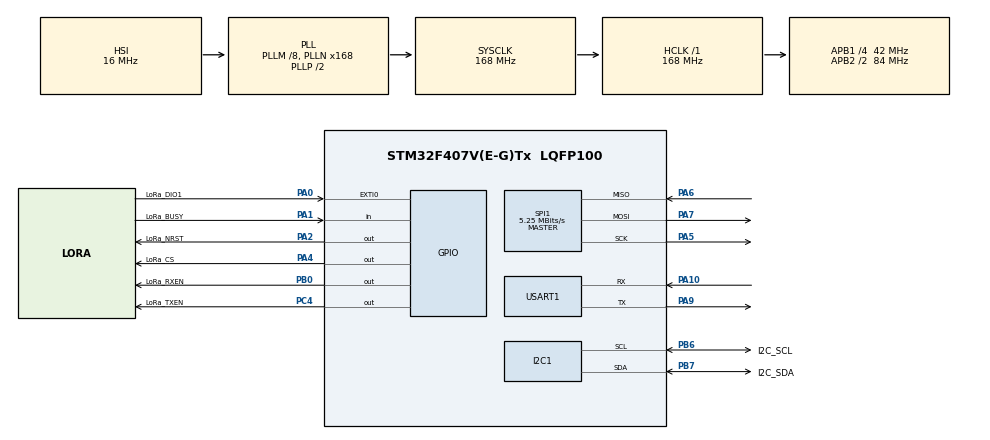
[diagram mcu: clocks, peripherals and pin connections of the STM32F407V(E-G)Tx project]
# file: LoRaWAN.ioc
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FREERTOS.Tasks01=defaultTask,24,512,StartDefaultTask,Default,NULL,Dynamic,NULL,NULL
FREERTOS.configCHECK_FOR_STACK_OVERFLOW=2
FREERTOS.configTOTAL_HEAP_SIZE=32768
FREERTOS.configUSE_MALLOC_FAILED_HOOK=1
I2C1.I2C_Mode=I2C_Standard
Mcu.Family=STM32F4
Mcu.Name=STM32F407V(E-G)Tx
Mcu.Package=LQFP100
NVIC.EXTI0_IRQn=true\:6\:0\:true\:false\:true\:true\:true\:true\:true
NVIC.PriorityGroup=NVIC_PRIORITYGROUP_4
NVIC.TIM6_DAC_IRQn=true\:15\:0\:false\:false\:true\:false\:false\:true\:true
NVIC.TimeBase=TIM6_DAC_IRQn
NVIC.TimeBaseIP=TIM6
PA0-WKUP.GPIO_Label=LoRa_DIO1
PA0-WKUP.GPIO_ModeDefaultEXTI=GPIO_MODE_IT_RISING
PA0-WKUP.GPIO_PuPd=GPIO_NOPULL
PA0-WKUP.Signal=GPXTI0
PA1.GPIO_Label=LoRa_BUSY
PA1.GPIO_PuPd=GPIO_NOPULL
PA1.Signal=GPIO_Input
PA10.Mode=Asynchronous
PA10.Signal=USART1_RX
PA13.Mode=Serial_Wire
PA13.Signal=SYS_JTMS-SWDIO
PA14.Mode=Serial_Wire
PA14.Signal=SYS_JTCK-SWCLK
PA2.GPIO_Label=LoRa_NRST
PA2.GPIO_ModeDefaultOutputPP=GPIO_MODE_OUTPUT_OD
PA2.GPIO_PuPd=GPIO_NOPULL
PA2.PinState=GPIO_PIN_SET
PA2.Signal=GPIO_Output
PA4.GPIO_Label=LoRa_CS
PA4.GPIO_ModeDefaultOutputPP=GPIO_MODE_OUTPUT_PP
PA4.PinState=GPIO_PIN_SET
PA4.Signal=GPIO_Output
PA5.Mode=Full_Duplex_Master
PA5.Signal=SPI1_SCK
PA6.Mode=Full_Duplex_Master
PA6.Signal=SPI1_MISO
PA7.Mode=Full_Duplex_Master
PA7.Signal=SPI1_MOSI
PA9.Mode=Asynchronous
PA9.Signal=USART1_TX
PB0.GPIO_Label=LoRa_RXEN
PB0.Signal=GPIO_Output
PB6.GPIO_Label=I2C_SCL
PB6.Mode=I2C
PB6.Signal=I2C1_SCL
PB7.GPIO_Label=I2C_SDA
PB7.Mode=I2C
PB7.Signal=I2C1_SDA
PC14-OSC32_IN.Mode=LSE-External-Oscillator
PC14-OSC32_IN.Signal=RCC_OSC32_IN
PC15-OSC32_OUT.Mode=LSE-External-Oscillator
PC15-OSC32_OUT.Signal=RCC_OSC32_OUT
PC4.GPIO_Label=LoRa_TXEN
PC4.Signal=GPIO_Output
PH0-OSC_IN.Mode=HSE-External-Oscillator
PH0-OSC_IN.Signal=RCC_OSC_IN
PH1-OSC_OUT.Mode=HSE-External-Oscillator
PH1-OSC_OUT.Signal=RCC_OSC_OUT
ProjectManager.HeapSize=0x200
ProjectManager.StackSize=0x400
ProjectManager.TargetToolchain=MDK-ARM V5.32
RCC.48MHZClocksFreq_Value=84000000
RCC.AHBFreq_Value=168000000
RCC.APB1CLKDivider=RCC_HCLK_DIV4
RCC.APB1Freq_Value=42000000
RCC.APB1TimFreq_Value=84000000
RCC.APB2CLKDivider=RCC_HCLK_DIV2
RCC.APB2Freq_Value=84000000
RCC.APB2TimFreq_Value=168000000
RCC.CortexFreq_Value=168000000
RCC.HCLKFreq_Value=168000000
RCC.HSE_VALUE=25000000
RCC.HSI_VALUE=16000000
RCC.PLLM=8
RCC.PLLN=168
RCC.SYSCLKFreq_VALUE=168000000
RCC.SYSCLKSource=RCC_SYSCLKSOURCE_PLLCLK
RCC.VCOOutputFreq_Value=336000000
SPI1.BaudRatePrescaler=SPI_BAUDRATEPRESCALER_16
SPI1.CalculateBaudRate=5.25 MBits/s
SPI1.Direction=SPI_DIRECTION_2LINES
SPI1.Mode=SPI_MODE_MASTER
SPI1.VirtualType=VM_MASTER
USART1.VirtualMode=VM_ASYNC
VP_FREERTOS_VS_CMSIS_V2.Mode=CMSIS_V2
VP_SYS_VS_tim6.Mode=TIM6
board=custom

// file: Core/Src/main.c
/* USER CODE BEGIN Header */
/**
  ******************************************************************************
  * @file           : main.c
  * @brief          : Main program body
  ******************************************************************************
  * @attention
  *
  * Copyright (c) 2026 STMicroelectronics.
  * All rights reserved.
  *
  * This software is licensed under terms that can be found in the LICENSE file
  * in the root directory of this software component.
  * If this file has not been licensed with this software, it is provided AS-IS.
  *
  ******************************************************************************
  */
/* USER CODE END Header */
#include "main.h"
#include "cmsis_os.h"
#include "i2c.h"
#include "spi.h"
#include "usart.h"
#include "gpio.h"

/* USER CODE BEGIN Includes */
#include "bsp.h"
#include "app_clk.h"
/* USER CODE END Includes */

void SystemClock_Config(void);
void MX_FREERTOS_Init(void);

/* USER CODE BEGIN 0 */
#if APP_HCLK_MHZ == 84
static HAL_StatusTypeDef clk_slow(void)
{
  RCC_ClkInitTypeDef clk = {0};
  HAL_StatusTypeDef rc;

  /* 仅调整 HCLK，保留 PLL、主时钟、电压档位、Flash 等待周期和 APB 频率。 */
  clk.ClockType = RCC_CLOCKTYPE_HCLK | RCC_CLOCKTYPE_PCLK1 | RCC_CLOCKTYPE_PCLK2;
  clk.AHBCLKDivider = RCC_SYSCLK_DIV2;
  clk.APB1CLKDivider = RCC_HCLK_DIV2;
  clk.APB2CLKDivider = RCC_HCLK_DIV1;
  rc = HAL_RCC_ClockConfig(&clk, FLASH_LATENCY_5);
  if (rc != HAL_OK) return rc;

  if (HAL_RCC_GetSysClockFreq() != 168000000U || HAL_RCC_GetHCLKFreq() != 84000000U ||
      HAL_RCC_GetPCLK1Freq() != 42000000U || HAL_RCC_GetPCLK2Freq() != 84000000U)
    return HAL_ERROR;
  return HAL_OK;
}
#endif

/* USER CODE END 0 */

int main(void)
{

  /* USER CODE BEGIN 1 */
  /* 上电时先设置向量表，再启用 HAL 的 TIM6 时基中断。 */
  SCB->VTOR = FLASH_BASE;
  __DSB();
  __ISB();
  /* USER CODE END 1 */

  /* MCU Configuration--------------------------------------------------------*/

  /* Reset of all peripherals, Initializes the Flash interface and the Systick. */
  HAL_Init();

  /* Configure the system clock */
  SystemClock_Config();

  /* USER CODE BEGIN SysInit */
#if APP_HCLK_MHZ == 84
  if (clk_slow() != HAL_OK) Error_Handler();
#endif
  /* USER CODE END SysInit */

  /* Initialize all configured peripherals */
  MX_GPIO_Init();
  MX_I2C1_Init();
  MX_USART1_UART_Init();
  MX_SPI1_Init();

  /* Init scheduler */
  if (osKernelInitialize() != osOK)  /* Call init function for freertos objects (in cmsis_os2.c) */
  {
    BootTrace_Fatal("osKernelInitialize failed");
    Error_Handler();
  }
  MX_FREERTOS_Init();

  /* Start scheduler */
  if (osKernelStart() != osOK)
  {
    BootTrace_Fatal("osKernelStart failed");
    Error_Handler();
  }

  BootTrace_Fatal("osKernelStart returned unexpectedly");

  /* We should never get here as control is now taken by the scheduler */

  /* Infinite loop */
  while (1)
  {

  }
}

void SystemClock_Config(void)
{
  RCC_OscInitTypeDef RCC_OscInitStruct = {0};
  RCC_ClkInitTypeDef RCC_ClkInitStruct = {0};

  /** Configure the main internal regulator output voltage
  */
  __HAL_RCC_PWR_CLK_ENABLE();
  __HAL_PWR_VOLTAGESCALING_CONFIG(PWR_REGULATOR_VOLTAGE_SCALE1);

  /** Initializes the RCC Oscillators according to the specified parameters
  * in the RCC_OscInitTypeDef structure.
  */
  RCC_OscInitStruct.OscillatorType = RCC_OSCILLATORTYPE_HSI;
  RCC_OscInitStruct.HSIState = RCC_HSI_ON;
  RCC_OscInitStruct.HSICalibrationValue = RCC_HSICALIBRATION_DEFAULT;
  RCC_OscInitStruct.PLL.PLLState = RCC_PLL_ON;
  RCC_OscInitStruct.PLL.PLLSource = RCC_PLLSOURCE_HSI;
  RCC_OscInitStruct.PLL.PLLM = 8;
  RCC_OscInitStruct.PLL.PLLN = 168;
  RCC_OscInitStruct.PLL.PLLP = RCC_PLLP_DIV2;
  RCC_OscInitStruct.PLL.PLLQ = 4;
  if (HAL_RCC_OscConfig(&RCC_OscInitStruct) != HAL_OK)
  {
    Error_Handler();
  }

  /** Initializes the CPU, AHB and APB buses clocks
  */
  RCC_ClkInitStruct.ClockType = RCC_CLOCKTYPE_HCLK|RCC_CLOCKTYPE_SYSCLK
                              |RCC_CLOCKTYPE_PCLK1|RCC_CLOCKTYPE_PCLK2;
  RCC_ClkInitStruct.SYSCLKSource = RCC_SYSCLKSOURCE_PLLCLK;
  RCC_ClkInitStruct.AHBCLKDivider = RCC_SYSCLK_DIV1;
  RCC_ClkInitStruct.APB1CLKDivider = RCC_HCLK_DIV4;
  RCC_ClkInitStruct.APB2CLKDivider = RCC_HCLK_DIV2;

  if (HAL_RCC_ClockConfig(&RCC_ClkInitStruct, FLASH_LATENCY_5) != HAL_OK)
  {
    Error_Handler();
  }
}

void HAL_TIM_PeriodElapsedCallback(TIM_HandleTypeDef *htim)
{
  if (htim->Instance == TIM6)
  {
    HAL_IncTick();
  }
}

void Error_Handler(void)
{
  /* USER CODE BEGIN Error_Handler_Debug */
  /* User can add his own implementation to report the HAL error return state */
  BootTrace_Fatal("HAL Error_Handler");
  __disable_irq();
  while (1)
  {
  }
  /* USER CODE END Error_Handler_Debug */
}

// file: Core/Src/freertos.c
/* USER CODE BEGIN Header */
/**
  ******************************************************************************
  * File Name          : freertos.c
  * Description        : Code for freertos applications
  ******************************************************************************
  * @attention
  *
  * Copyright (c) 2026 STMicroelectronics.
  * All rights reserved.
  *
  * This software is licensed under terms that can be found in the LICENSE file
  * in the root directory of this software component.
  * If no LICENSE file comes with this software, it is provided AS-IS.
  *
  ******************************************************************************
  */
/* USER CODE END Header */

#include "FreeRTOS.h"
#include "task.h"
#include "main.h"
#include "cmsis_os.h"

/* USER CODE BEGIN Includes */
#include "rtos_app.h"
#include "boot_trace.h"
#if APP_STOP_ENABLE
#include "i2c.h"
#include "spi.h"
#include "usart.h"
#include "lora_app.h"
#endif

/* USER CODE END Includes */

/* Definitions for defaultTask */
osThreadId_t defaultTaskHandle;
const osThreadAttr_t defaultTask_attributes = {
  .name = "defaultTask",
  .stack_size = 512 * 4,
  .priority = (osPriority_t) osPriorityNormal,
};

void StartDefaultTask(void *argument);

void MX_FREERTOS_Init(void); /* (MISRA C 2004 rule 8.1) */

/* Hook prototypes */
void vApplicationStackOverflowHook(xTaskHandle xTask, signed char *pcTaskName);
void vApplicationMallocFailedHook(void);
void vApplicationIdleHook(void);

/* USER CODE BEGIN 4 */
#if APP_STOP_ENABLE
/* 仅在 RTC 未占用或配置匹配时使用 LSE 唤醒定时器；冲突时保留备份域。 */
#define STOP_RTC_HZ          2048U
#define STOP_RTC_WRAP        (60U * STOP_RTC_HZ)
#define STOP_RTC_PREDIV      ((15U << RTC_PRER_PREDIV_A_Pos) | (STOP_RTC_HZ - 1U))
#define STOP_WUT_EXTI        EXTI_IMR_MR22
#define STOP_MAX_MS          250U
#define STOP_GUARD_MS        10U
#define STOP_MIN_TICKS       25U
#define STOP_BOOT_WAIT_MS    5000U
#define STOP_TEST_WAIT_MS    100U
#define STOP_FAULT_MAGIC     0x53544f00UL

enum { STOP_COLD, STOP_LSE_WAIT, STOP_READY, STOP_UNAVAILABLE, STOP_FAULT, STOP_TEST_WAIT };
enum { STOP_NO_FAULT, STOP_DBP_FAULT, STOP_RTC_CONFLICT, STOP_LSE_FAULT,
       STOP_RTC_INIT_FAULT, STOP_SELFTEST_FAULT, STOP_WUT_FAULT, STOP_CLOCK_FAULT, STOP_STAMP_FAULT };
/* 单独输出 LPSTOP，不改变 RUN 字段。 */
volatile app_stop_diag_t app_stop_diag;

void app_stop_get_diag(app_stop_diag_t *diag)
{
    *diag = app_stop_diag;
}

static uint32_t stop_lse_start, stop_us_remainder, stop_total_us_remainder;
static uint32_t stop_test_start_ms, stop_test_start_rtc;
static volatile uint8_t stop_test_irq;
static uint8_t stop_stamp(uint32_t *stamp);
static uint8_t stop_arm(uint32_t ms);
static uint8_t stop_disarm(void);

static void stop_unavailable(uint32_t why)
{
    app_stop_diag.fault_reason = why;
    app_stop_diag.state = STOP_UNAVAILABLE;
}

static void stop_wfi(void)
{
    __DSB();
    __WFI();
    __ISB();
}

static uint8_t stop_wait(volatile const uint32_t *reg, uint32_t mask,
                         uint32_t value, uint32_t attempts)
{
    do {
        if ((*reg & mask) == value) return 1U;
    } while (--attempts != 0U);
    return 0U;
}

static void stop_rtc_unlock(void)
{
    RTC->WPR = 0xcaU;
    RTC->WPR = 0x53U;
}

static void stop_rtc_clear(void)
{
    /* RTC_ISR 的事件标记写 0 清除，保留其他标记。 */
    RTC->ISR = ~(RTC_ISR_WUTF | RTC_ISR_INIT) | (RTC->ISR & RTC_ISR_INIT);
    EXTI->PR = STOP_WUT_EXTI;
    NVIC_ClearPendingIRQ(RTC_WKUP_IRQn);
}

static void stop_irq_release(void)
{
    EXTI->IMR &= ~STOP_WUT_EXTI;
    NVIC_DisableIRQ(RTC_WKUP_IRQn);
    stop_rtc_clear();
}

void RTC_WKUP_IRQHandler(void)
{
    /* 进入 STOP 后由屏蔽中断的休眠流程处理唤醒标记。 */
    if (app_stop_diag.state == STOP_TEST_WAIT && (RTC->ISR & RTC_ISR_WUTF) &&
        (EXTI->PR & STOP_WUT_EXTI))
        stop_test_irq = 1U;
    stop_rtc_clear();
}

static void stop_prepare(void)
{
    uint32_t bdcr;
    if (app_stop_diag.state == STOP_TEST_WAIT)
    {
        uint32_t stamp, delta;
        uint8_t rtc_ok;
        if (!stop_test_irq && (uint32_t)(HAL_GetTick() - stop_test_start_ms) < STOP_TEST_WAIT_MS)
            return;
        rtc_ok = stop_stamp(&stamp);
        delta = rtc_ok ? (stamp + STOP_RTC_WRAP - stop_test_start_rtc) % STOP_RTC_WRAP : 0U;
        __disable_irq();
        if (stop_disarm() && stop_test_irq && delta >= 8U && delta <= STOP_RTC_HZ)
            app_stop_diag.state = STOP_READY;
        else
        {
            if (app_stop_diag.state != STOP_UNAVAILABLE) stop_unavailable(STOP_SELFTEST_FAULT);
            stop_irq_release();
        }
        __enable_irq();
        return;
    }
    if (app_stop_diag.state == STOP_COLD)
    {
        __HAL_RCC_PWR_CLK_ENABLE();
        PWR->CR |= PWR_CR_DBP;
        if (!stop_wait(&PWR->CR, PWR_CR_DBP, PWR_CR_DBP, 20000U))
        {
            stop_unavailable(STOP_DBP_FAULT);
            return;
        }
        if (RTC->BKP19R != 0U)
        {
            if ((RTC->BKP19R & 0xffffff00UL) == STOP_FAULT_MAGIC)
            {
                app_stop_diag.fault_reason = RTC->BKP19R & 0xffU;
                app_stop_diag.state = STOP_FAULT;
            }
            else stop_unavailable(STOP_RTC_CONFLICT);
            return;
        }
        bdcr = RCC->BDCR;
        if (((bdcr & RCC_BDCR_RTCSEL) != 0U &&
             (bdcr & RCC_BDCR_RTCSEL) != RCC_RTCCLKSOURCE_LSE) ||
            ((bdcr & RCC_BDCR_RTCEN) && (bdcr & RCC_BDCR_RTCSEL) == 0U))
        {
            stop_unavailable(STOP_RTC_CONFLICT);
            return;
        }
        RCC->BDCR |= RCC_BDCR_LSEON;
        stop_lse_start = HAL_GetTick();
        app_stop_diag.state = STOP_LSE_WAIT;
    }
    if (app_stop_diag.state != STOP_LSE_WAIT) return;
    if (!(RCC->BDCR & RCC_BDCR_LSERDY))
    {
        if ((uint32_t)(HAL_GetTick() - stop_lse_start) >= STOP_BOOT_WAIT_MS)
            stop_unavailable(STOP_LSE_FAULT);
        return;
    }

    bdcr = RCC->BDCR;
    if (!(bdcr & RCC_BDCR_RTCEN))
    {
        RCC->BDCR = bdcr | RCC_RTCCLKSOURCE_LSE | RCC_BDCR_RTCEN;
        if (RTC->ISR & RTC_ISR_INITS)
        {
            stop_unavailable(STOP_RTC_CONFLICT);
            return;
        }
        stop_rtc_unlock();
        RTC->ISR |= RTC_ISR_INIT;
        if (!stop_wait(&RTC->ISR, RTC_ISR_INITF, RTC_ISR_INITF, 20000U))
        {
            RTC->ISR &= ~RTC_ISR_INIT;
            RTC->WPR = 0xffU;
            stop_unavailable(STOP_RTC_INIT_FAULT);
            return;
        }
        RTC->PRER = STOP_RTC_HZ - 1U;
        RTC->PRER = STOP_RTC_PREDIV;
        RTC->CR |= RTC_CR_BYPSHAD;
        RTC->ISR &= ~RTC_ISR_INIT;
        RTC->WPR = 0xffU;
    }
    if ((RTC->PRER & (RTC_PRER_PREDIV_A | RTC_PRER_PREDIV_S)) != STOP_RTC_PREDIV ||
        !(RTC->CR & RTC_CR_BYPSHAD) || (RTC->CR & (RTC_CR_WUTE | RTC_CR_WUTIE)) ||
        (EXTI->IMR & STOP_WUT_EXTI))
    {
        stop_unavailable(STOP_RTC_CONFLICT);
        return;
    }
    stop_rtc_clear();
    EXTI->FTSR &= ~STOP_WUT_EXTI;
    EXTI->RTSR |= STOP_WUT_EXTI;
    EXTI->IMR |= STOP_WUT_EXTI;
    NVIC_SetPriority(RTC_WKUP_IRQn, configLIBRARY_LOWEST_INTERRUPT_PRIORITY);
    NVIC_EnableIRQ(RTC_WKUP_IRQn);
    /* 启用 STOP 之前，先验证 RTC 走时与实际唤醒中断。 */
    if (!stop_stamp(&stop_test_start_rtc))
    {
        stop_unavailable(STOP_RTC_INIT_FAULT);
        stop_irq_release();
        return;
    }
    stop_test_irq = 0U;
    stop_test_start_ms = HAL_GetTick();
    app_stop_diag.state = STOP_TEST_WAIT;
    if (!stop_arm(8U))
    {
        (void)stop_disarm();
        stop_unavailable(STOP_WUT_FAULT);
        stop_irq_release();
    }
}

static uint8_t stop_stamp(uint32_t *stamp)
{
    /* 直接读取低速时钟域，重复核对秒与亚秒，拒绝跨界读数。 */
    uint32_t attempts = 16U;
    do {
        uint32_t tr = RTC->TR & 0x7fU;
        uint32_t ss = RTC->SSR;
        uint32_t tr2 = RTC->TR & 0x7fU;
        if (tr == tr2 && ss == RTC->SSR && ss < STOP_RTC_HZ &&
            (tr & 0xfU) <= 9U && (tr >> 4U) <= 5U)
        {
            *stamp = ((tr >> 4U) * 10U + (tr & 0xfU)) * STOP_RTC_HZ + (STOP_RTC_HZ - 1U - ss);
            return 1U;
        }
    } while (--attempts);
    return 0U;
}

static uint8_t stop_arm(uint32_t ms)
{
    uint32_t count = (ms * STOP_RTC_HZ) / 1000U;
    if (!stop_wait(&RTC->ISR, RTC_ISR_WUTWF, RTC_ISR_WUTWF, 20000U)) return 0U;
    stop_rtc_clear();
    stop_rtc_unlock();
    RTC->CR &= ~RTC_CR_WUCKSEL; /* 唤醒定时器时钟为 RTCCLK/16。 */
    RTC->WUTR = count - 1U;
    RTC->CR |= RTC_CR_WUTIE | RTC_CR_WUTE;
    RTC->WPR = 0xffU;
    return (uint8_t)((RTC->CR & (RTC_CR_WUTE | RTC_CR_WUTIE)) == (RTC_CR_WUTE | RTC_CR_WUTIE));
}

static uint8_t stop_disarm(void)
{
    uint8_t ok;
    stop_rtc_unlock();
    RTC->CR &= ~(RTC_CR_WUTE | RTC_CR_WUTIE);
    RTC->WPR = 0xffU;
    ok = stop_wait(&RTC->ISR, RTC_ISR_WUTWF, RTC_ISR_WUTWF, 20000U);
    stop_rtc_clear();
    if (!ok)
    {
        stop_irq_release();
        stop_unavailable(STOP_WUT_FAULT);
    }
    return ok;
}

static uint8_t stop_restore_clock(uint32_t dividers)
{
    const uint32_t mask = RCC_CFGR_HPRE | RCC_CFGR_PPRE1 | RCC_CFGR_PPRE2;
    if ((RCC->CFGR & mask) != dividers) return 0U;
    if ((RCC->CFGR & RCC_CFGR_SWS) == RCC_CFGR_SWS_PLL) return 1U;
    /* STOP 保留 HSI 驱动的 PLL 参数；TIM6 暂停时不能用 HAL 超时等待。 */
    RCC->CR |= RCC_CR_HSION;
    if (!stop_wait(&RCC->CR, RCC_CR_HSIRDY, RCC_CR_HSIRDY, 100000U)) return 0U;
    RCC->CR |= RCC_CR_PLLON;
    if (!stop_wait(&RCC->CR, RCC_CR_PLLRDY, RCC_CR_PLLRDY, 100000U)) return 0U;
    RCC->CFGR = (RCC->CFGR & ~RCC_CFGR_SW) | RCC_CFGR_SW_PLL;
    return stop_wait(&RCC->CFGR, RCC_CFGR_SWS, RCC_CFGR_SWS_PLL, 100000U);
}

static void stop_restart_safely(uint32_t why)
{
    /* 时钟恢复失败时记入备份域并重启，避免带故障时基继续运行。 */
    app_stop_diag.fault_reason = why;
    app_stop_diag.state = STOP_FAULT;
    RTC->BKP19R = STOP_FAULT_MAGIC | why;
    __DSB();
    if (RTC->BKP19R == (STOP_FAULT_MAGIC | why)) NVIC_SystemReset();
    /* 备份标记写入失败时等待人工重启，避免反复复位。 */
    for (;;) stop_wfi();
}

static uint8_t stop_safe(void)
{
    return (uint8_t)((CoreDebug->DHCSR & CoreDebug_DHCSR_C_DEBUGEN_Msk) == 0U &&
        !(DBGMCU->CR & (DBGMCU_CR_DBG_STOP | DBGMCU_CR_DBG_SLEEP)) &&
        (RCC->BDCR & RCC_BDCR_LSERDY) && RTC->BKP19R == 0U &&
        SystemCoreClock == 84000000U && !(RCC->PLLCFGR & RCC_PLLCFGR_PLLSRC) &&
        (RCC->CFGR & RCC_CFGR_SWS) == RCC_CFGR_SWS_PLL &&
        hi2c1.State == HAL_I2C_STATE_READY && !(I2C1->SR2 & I2C_SR2_BUSY) &&
        hspi1.State == HAL_SPI_STATE_READY && !(SPI1->SR & SPI_SR_BSY) &&
        huart1.gState == HAL_UART_STATE_READY && huart1.RxState == HAL_UART_STATE_READY &&
        (USART1->SR & USART_SR_TC) && Lora_App_CanStop());
}

void app_stop_sleep(uint32_t expected_ticks)
{
    uint32_t ctrl, dividers, tim_cr1, tim_cnt, sys_rem, since, end, ms, q;
    uint32_t elapsed_us, elapsed_ticks, stepped, reload, total;
    const uint32_t cycles = 84000U; /* 84 MHz 下每毫秒 84000 个周期。 */
    uint8_t entered, rtc_woke;
    if (app_stop_diag.state != STOP_READY || expected_ticks < STOP_MIN_TICKS)
    {
        ++app_stop_diag.bypasses;
        stop_wfi();
        return;
    }
    __disable_irq();
    __DSB();
    __ISB();
    if (eTaskConfirmSleepModeStatus() == eAbortSleep)
    {
        ++app_stop_diag.bypasses;
        __enable_irq();
        return;
    }
    ctrl = SysTick->CTRL;
    tim_cr1 = TIM6->CR1;
    if (!stop_safe() || (ctrl & 7U) != 7U || SysTick->LOAD != cycles - 1U ||
        !(tim_cr1 & TIM_CR1_CEN) || !(TIM6->DIER & TIM_DIER_UIE) ||
        TIM6->PSC != 83U || TIM6->ARR != 999U ||
        uwTickFreq != HAL_TICK_FREQ_1KHZ || (SCB->ICSR & SCB_ICSR_VECTPENDING_Msk))
    {
        ++app_stop_diag.bypasses;
        __enable_irq();
        stop_wfi();
        return;
    }

    dividers = RCC->CFGR & (RCC_CFGR_HPRE | RCC_CFGR_PPRE1 | RCC_CFGR_PPRE2);
    SysTick->CTRL = ctrl & (SysTick_CTRL_TICKINT_Msk | SysTick_CTRL_CLKSOURCE_Msk);
    TIM6->CR1 = tim_cr1 & ~TIM_CR1_CEN;
    sys_rem = SysTick->VAL;
    tim_cnt = TIM6->CNT;
    if ((SCB->ICSR & (SCB_ICSR_PENDSTSET_Msk | SCB_ICSR_PENDSVSET_Msk | SCB_ICSR_VECTPENDING_Msk)) ||
        (TIM6->SR & TIM_SR_UIF) || !stop_stamp(&since))
    {
        TIM6->CR1 = tim_cr1;
        SysTick->CTRL = ctrl & 7U;
        ++app_stop_diag.bypasses;
        __enable_irq();
        return;
    }
    if (sys_rem == 0U) sys_rem = cycles;
    ms = expected_ticks - STOP_GUARD_MS;
    if (ms > STOP_MAX_MS) ms = STOP_MAX_MS;
    if (!stop_arm(ms) || !(RCC->BDCR & RCC_BDCR_LSERDY))
    {
        /* 配置 RTC 失败后停用 STOP。 */
        (void)stop_disarm();
        stop_unavailable(STOP_WUT_FAULT);
        stop_irq_release();
        TIM6->CR1 = tim_cr1;
        SysTick->CTRL = ctrl & 7U;
        ++app_stop_diag.bypasses;
        __enable_irq();
        return;
    }

    __DSB();
    HAL_PWR_EnterSTOPMode(PWR_LOWPOWERREGULATOR_ON, PWR_STOPENTRY_WFI);
    __ISB();
    entered = (uint8_t)((RCC->CFGR & RCC_CFGR_SWS) != RCC_CFGR_SWS_PLL);
    rtc_woke = (uint8_t)((RTC->ISR & RTC_ISR_WUTF) != 0U);
    if (!stop_restore_clock(dividers)) stop_restart_safely(STOP_CLOCK_FAULT);
    (void)stop_disarm();
    if (!stop_stamp(&end)) stop_restart_safely(STOP_STAMP_FAULT);
    q = (end + STOP_RTC_WRAP - since) % STOP_RTC_WRAP;
    if (q > 2U * STOP_RTC_HZ) stop_restart_safely(STOP_STAMP_FAULT);
    if (entered)
    {
        ++app_stop_diag.entries;
        if (rtc_woke) ++app_stop_diag.rtc_wakes;
        else ++app_stop_diag.early_wakes;
    }
    else ++app_stop_diag.bypasses;

    /* 每个 RTC 计数为 15625/32 µs，余数留到下次补偿。 */
    total = q * 15625U + stop_us_remainder;
    elapsed_us = total / 32U;
    stop_us_remainder = total % 32U;
    if (entered)
    {
        total = elapsed_us + stop_total_us_remainder;
        app_stop_diag.elapsed_ms += total / 1000U;
        stop_total_us_remainder = total % 1000U;
    }

    total = tim_cnt + elapsed_us;
    uwTick += total / 1000U;
    TIM6->CNT = total % 1000U;

    total = cycles - sys_rem + elapsed_us * 84U;
    elapsed_ticks = total / cycles;
    reload = cycles - total % cycles;
    if (reload < 32U) reload = 32U;
    /* 补偿节拍不能直接跨过任务截止点；剩余节拍由内核恢复时处理。 */
    stepped = elapsed_ticks;
    if (stepped >= expected_ticks)
    {
        ++app_stop_diag.deadline_overruns;
        stepped = expected_ticks - 1U;
    }
    if (stepped) vTaskStepTick((TickType_t)stepped);
    while (stepped++ < elapsed_ticks) (void)xTaskIncrementTick();

    SysTick->LOAD = reload - 1U;
    SysTick->VAL = 0U;
    SysTick->CTRL = ctrl & 7U;
    /* 先载入本次剩余节拍的计数，再恢复正常重装值。 */
    for (uint32_t spins = 32U; spins && SysTick->VAL == 0U; --spins) __NOP();
    SysTick->LOAD = cycles - 1U;
    TIM6->CR1 = tim_cr1;
    __DSB();
    __enable_irq();
    __ISB();
}
#endif

void vApplicationIdleHook(void)
{
#if APP_STOP_ENABLE
   stop_prepare();
   /* RTC 就绪后由调度器按下一任务期限选择休眠。 */
   if (app_stop_diag.state == STOP_READY) return;
#endif
   /* STOP 未就绪时用 WFI 浅睡，保留 RTOS 和 HAL 的 1 kHz 时基。 */
   __DSB();
   __WFI();
   __ISB();
}

void vApplicationStackOverflowHook(xTaskHandle xTask, signed char *pcTaskName)
{
   /* 任务栈溢出时记录故障并停止。 */
   (void)xTask;
   BootTrace_Write("\r\n[RTOS] FATAL: stack overflow in ");
   BootTrace_Write((pcTaskName != NULL) ? (const char *)pcTaskName : "unknown");
   BootTrace_Write("\r\n");
   __disable_irq();
   while (1)
   {
   }
}
/* USER CODE END 4 */

/* USER CODE BEGIN 5 */
void vApplicationMallocFailedHook(void)
{
   /* 内核分配失败时记录故障并停止。 */
   BootTrace_Fatal("FreeRTOS malloc failed");
   __disable_irq();
   while (1)
   {
   }
}
/* USER CODE END 5 */

void MX_FREERTOS_Init(void) {

  /* Create the thread(s) */
  /* creation of defaultTask */
  defaultTaskHandle = osThreadNew(StartDefaultTask, NULL, &defaultTask_attributes);

}

void StartDefaultTask(void *argument)
{
  /* USER CODE BEGIN StartDefaultTask */
  (void)argument;
  RtosApp_Init();
  osThreadExit();
  /* USER CODE END StartDefaultTask */
}
